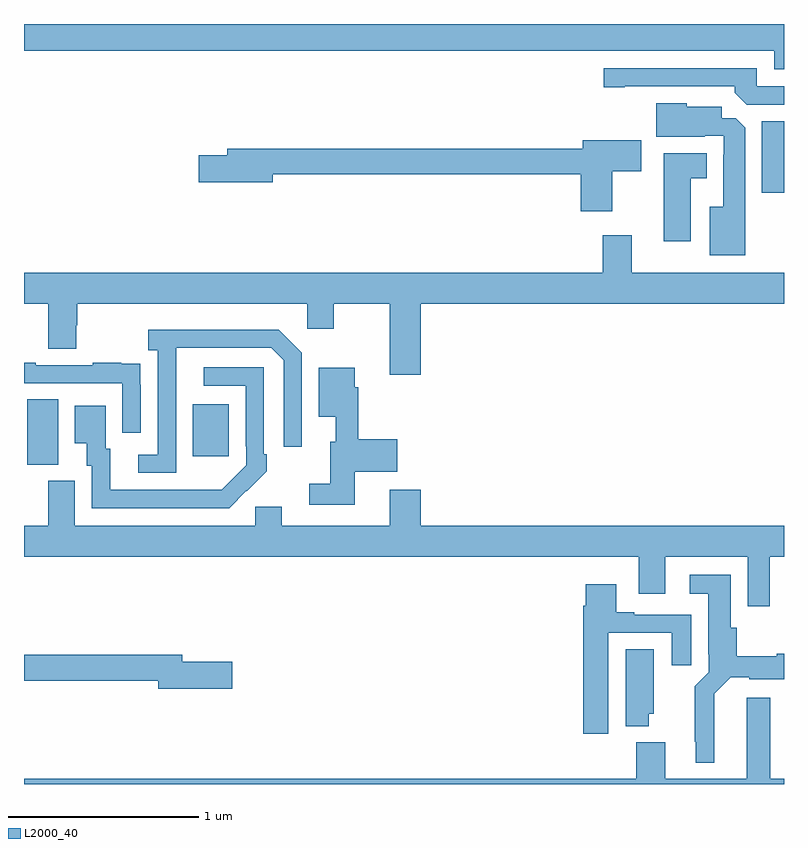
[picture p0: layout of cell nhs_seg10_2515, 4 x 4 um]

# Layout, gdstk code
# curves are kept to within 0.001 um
import gdstk
lib = gdstk.Library(unit=1e-6, precision=1e-09)
def R(c, l, rs):  # rectangles x0, y0, x1, y1
    for r in rs: c.add(gdstk.rectangle(r[:2], r[2:], *l))
def P(c, l, *ps):  # polygons
    for p in ps: c.add(gdstk.Polygon(p, *l))
L2000_40 = (2000, 40)

nhs_seg10_2515 = lib.new_cell('nhs_seg10_2515')
R(nhs_seg10_2515, L2000_40, [(247.016,1254.181,247.18,1254.524), (247.889,1254.225,248.077,1254.499), (250.883,1255.613,251,1255.987)])
P(nhs_seg10_2515, L2000_40, [(251,1256.5),(247,1256.5),(247,1256.36),(250.949,1256.36),(250.949,1256.261),(251,1256.261)],
  [(251,1256.172),(250.857,1256.172),(250.857,1256.268),(250.05,1256.268),(250.05,1256.167),(250.162,1256.167),(250.162,1256.172),(250.742,1256.172),(250.742,1256.138),(250.803,1256.076),(251,1256.076)],
  [(250.795,1255.955),(250.746,1256.004),(250.672,1256.004),(250.672,1256.065),(250.488,1256.065),(250.488,1256.083),(250.328,1256.083),(250.328,1255.907),(250.583,1255.907),(250.583,1255.911),(250.683,1255.911),(250.683,1255.811),(250.679,1255.811),(250.679,1255.537),(250.61,1255.537),(250.61,1255.283),(250.795,1255.283)],
  [(250.096,1255.726),(250.249,1255.726),(250.249,1255.888),(249.941,1255.888),(249.941,1255.844),(248.069,1255.844),(248.069,1255.808),(247.92,1255.808),(247.92,1255.666),(248.308,1255.666),(248.308,1255.708),(249.929,1255.708),(249.929,1255.515),(250.096,1255.515)],
  [(250.51,1255.688),(250.594,1255.688),(250.594,1255.819),(250.367,1255.819),(250.367,1255.356),(250.51,1255.356)],
  [(249.088,1255.028),(251,1255.028),(251,1255.192),(250.198,1255.192),(250.198,1255.387),(250.046,1255.387),(250.046,1255.192),(247,1255.192),(247,1255.028),(247.127,1255.028),(247.127,1254.79),(247.275,1254.79),(247.275,1254.915),(247.28,1254.915),(247.28,1255.028),(248.49,1255.028),(248.49,1254.897),(248.629,1254.897),(248.629,1255.028),(248.924,1255.028),(248.924,1254.654),(249.088,1254.654)],
  [(247.8,1254.595),(247.801,1254.795),(248.301,1254.795),(248.367,1254.729),(248.367,1254.276),(248.463,1254.276),(248.463,1254.771),(248.342,1254.892),(247.653,1254.892),(247.653,1254.782),(247.704,1254.782),(247.704,1254.234),(247.602,1254.234),(247.602,1254.138),(247.8,1254.138)],
  [(247.614,1254.602),(247.613,1254.602),(247.613,1254.711),(247.511,1254.711),(247.511,1254.718),(247.363,1254.718),(247.363,1254.705),(247.063,1254.705),(247.063,1254.718),(247,1254.718),(247,1254.609),(247.518,1254.609),(247.518,1254.348),(247.614,1254.348)],
  [(248.171,1254.043),(248.172,1254.042),(248.277,1254.147),(248.277,1254.235),(248.262,1254.235),(248.262,1254.693),(247.947,1254.693),(247.947,1254.597),(248.166,1254.597),(248.166,1254.277),(248.169,1254.277),(248.169,1254.177),(248.041,1254.049),(247.453,1254.048),(247.453,1254.264),(247.429,1254.264),(247.429,1254.49),(247.268,1254.49),(247.268,1254.293),(247.331,1254.293),(247.331,1254.174),(247.356,1254.174),(247.356,1253.952),(248.08,1253.952)],
  [(248.74,1254.143),(248.965,1254.143),(248.965,1254.314),(248.759,1254.314),(248.759,1254.587),(248.74,1254.587),(248.74,1254.691),(248.552,1254.691),(248.552,1254.434),(248.642,1254.434),(248.642,1254.301),(248.612,1254.301),(248.612,1254.079),(248.502,1254.079),(248.502,1253.97),(248.74,1253.97)],
  [(250.925,1253.696),(251,1253.696),(251,1253.86),(249.088,1253.86),(249.088,1254.049),(248.924,1254.049),(248.924,1253.86),(248.356,1253.86),(248.356,1253.958),(248.217,1253.958),(248.217,1253.86),(247.267,1253.86),(247.267,1254.096),(247.127,1254.096),(247.127,1253.86),(247,1253.86),(247,1253.696),(250.235,1253.696),(250.235,1253.502),(250.375,1253.502),(250.375,1253.696),(250.809,1253.696),(250.809,1253.436),(250.925,1253.436)],
  [(250.633,1252.976),(250.719,1253.063),(250.818,1253.063),(250.818,1253.051),(251,1253.051),(251,1253.186),(250.962,1253.186),(250.962,1253.173),(250.751,1253.173),(250.751,1253.322),(250.72,1253.322),(250.72,1253.602),(250.503,1253.602),(250.503,1253.501),(250.601,1253.501),(250.601,1253.182),(250.605,1253.182),(250.605,1253.088),(250.531,1253.014),(250.531,1252.723),(250.535,1252.723),(250.535,1252.613),(250.633,1252.613)],
  [(250.075,1253.295),(250.409,1253.295),(250.409,1253.124),(250.513,1253.124),(250.513,1253.391),(250.213,1253.391),(250.213,1253.404),(250.117,1253.404),(250.117,1253.551),(249.956,1253.551),(249.956,1253.438),(249.944,1253.438),(249.944,1252.764),(250.075,1252.764)],
  [(250.288,1252.869),(250.315,1252.869),(250.315,1253.21),(250.166,1253.21),(250.166,1252.805),(250.288,1252.805)],
  [(248.095,1253.144),(247.834,1253.144),(247.834,1253.18),(247,1253.18),(247,1253.044),(247.706,1253.044),(247.706,1253.002),(248.095,1253.002)],
  [(247,1252.5),(251,1252.5),(251,1252.528),(250.928,1252.528),(250.928,1252.954),(250.805,1252.954),(250.805,1252.528),(250.375,1252.528),(250.375,1252.72),(250.223,1252.72),(250.223,1252.528),(247,1252.528)])

lib.write_gds('nhs_seg10_2515.gds')
